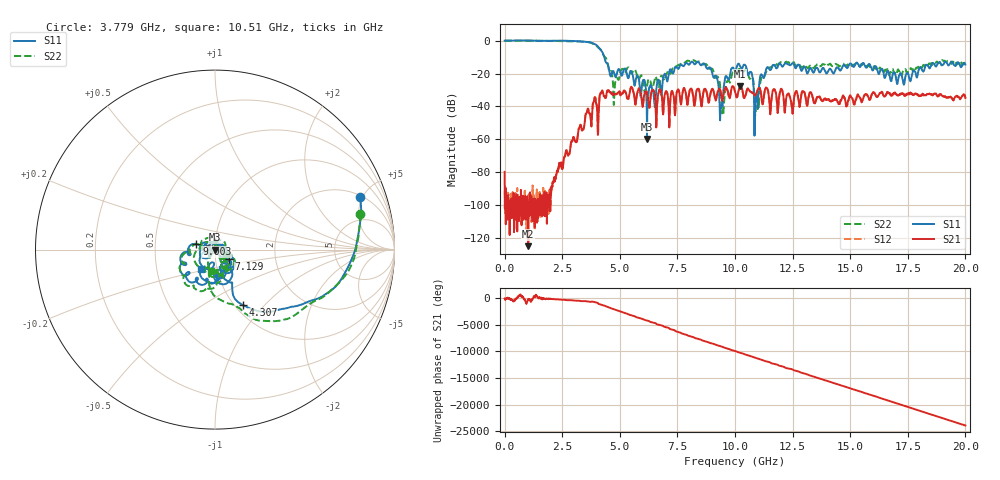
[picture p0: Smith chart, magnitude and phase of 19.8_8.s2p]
#  HZ  S  RI  R  50.00
! Rohde & Schwarz Vector Network Analyzer
! Rohde-Schwarz,ZNB20-2Port,1311601062102128,3.60
! Created: UTC 4/29/2024, 3:00:01 PM
! freq[Hz]  re:S11  im:S11  re:S21  im:S21  re:S12  im:S12  re:S22  im:S22
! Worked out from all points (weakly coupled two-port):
!   2007 points, 100 kHz to 20 GHz, reference 50 ohm
!   highest |S21| = -27.68 dB at 10.23 GHz (marker M1); lowest = -125.0 dB at 1.027 GHz (marker M2)
!   lowest |S11| = -59.7 dB at 6.182 GHz (marker M3), VSWR 1.00, Z = 50.1 - j0.00565 ohm
!   |S11| at or under -10 dB: 4.326 GHz to end of sweep
!   |S22| runs from -45.6 to 0.1 dB; largest |S21 - S12| = 0.0021
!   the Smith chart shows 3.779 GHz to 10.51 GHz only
!   S11 on the Smith chart (normalised r, x): 3.779 GHz: 2.08, +4.77; 4.307 GHz: 1.09, -0.76; 7.129 GHz: 1.16, -0.13; 9.003 GHz: 0.81, +0.05; 10.51 GHz: 0.83, -0.18
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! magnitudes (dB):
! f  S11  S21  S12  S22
! 100 kHz  0.0  -79.8  -91.3  0.1
! 1.027 GHz  0.1  -125.0  -94.0  0.0
! 2.243 GHz  0.0  -81.2  -82.0  -0.3
! 3.34 GHz  -0.6  -53.7  -53.5  -0.6
! 3.779 GHz  -1.3  -50.0  -50.3  -1.6
! 4.307 GHz  -9.2  -33.7  -33.9  -9.2
! 4.776 GHz  -20.7  -32.5  -32.4  -28.9
! 5.364 GHz  -22.8  -35.4  -35.4  -16.3
! 6.182 GHz  -59.7  -31.8  -31.9  -27.5
! 6.67 GHz  -23.7  -32.3  -32.3  -27.1
! 7.129 GHz  -20.4  -43.1  -43.1  -20.4
! 9.003 GHz  -19.3  -29.5  -29.5  -17.0
! 9.382 GHz  -40.6  -31.6  -31.6  -31.6
! 9.472 GHz  -36.9  -35.2  -35.2  -42.5
! 10 GHz  -18.7  -31.1  -31.1  -19.2
! 10.23 GHz  -15.7  -27.7  -27.7  -16.8
! 10.51 GHz  -17.5  -30.2  -30.2  -18.4
! 10.92 GHz  -33.6  -32.5  -32.5  -34.6
! 11.42 GHz  -16.2  -29.8  -29.8  -16.8
! 13.34 GHz  -18.0  -32.7  -32.7  -15.3
! 16.67 GHz  -19.1  -31.7  -31.8  -20.5
! 20 GHz  -14.6  -34.9  -34.8  -14.4
